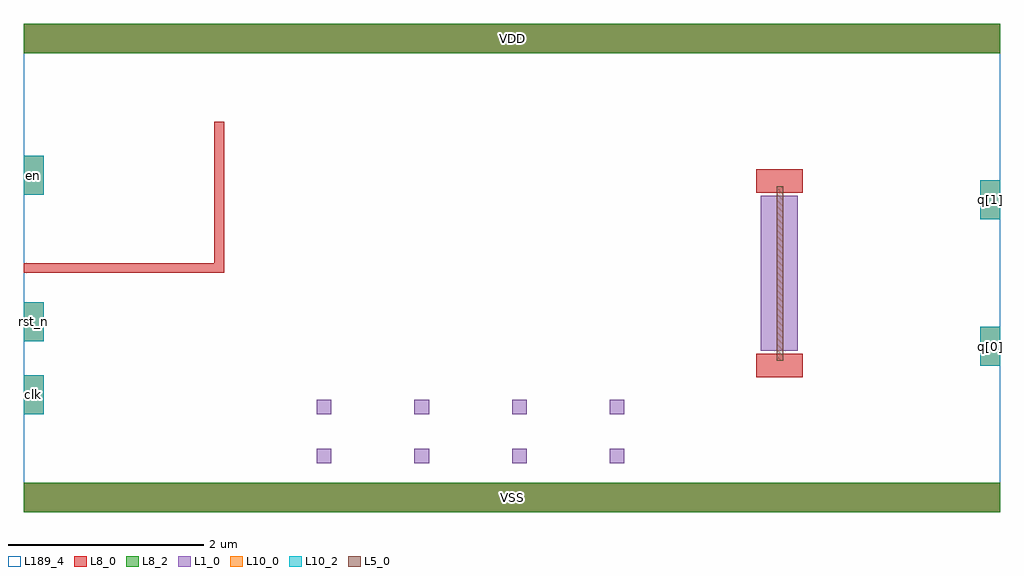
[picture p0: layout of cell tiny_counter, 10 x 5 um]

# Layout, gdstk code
import gdstk
lib = gdstk.Library(unit=1e-6, precision=5e-10)
def R(c, l, rs):  # rectangles x0, y0, x1, y1
    for r in rs: c.add(gdstk.rectangle(r[:2], r[2:], *l))
L1_0 = (1, 0)
L5_0 = (5, 0)
L8_0 = (8, 0)
L8_2 = (8, 2)
L10_0 = (10, 0)
L10_2 = (10, 2)
L189_4 = (189, 4)

tiny_counter_tap = lib.new_cell('tiny_counter_tap')
R(tiny_counter_tap, L1_0, [(0,0,0.15,0.15)])

sg13g2_inv_1 = lib.new_cell('sg13g2_inv_1')
R(sg13g2_inv_1, L1_0, [(0.05,0.15,0.43,1.74)])
R(sg13g2_inv_1, L5_0, [(0.215,0.05,0.28,1.84)])
R(sg13g2_inv_1, L8_0, [(0,-0.12,0.48,0.12), (0,1.77,0.48,2.01)])

tiny_counter = lib.new_cell('tiny_counter')
R(tiny_counter, L8_0, [(0,0,10,0.3), (0,4.7,10,5)])
R(tiny_counter, L8_2, [(0,0,10,0.3), (0,4.7,10,5)])
R(tiny_counter, L10_0, [(0,1,0.2,1.4), (9.8,1.5,10,1.9), (0,1.75,0.2,2.15), (9.8,3,10,3.4), (0,3.25,0.2,3.65)])
R(tiny_counter, L10_2, [(0,1,0.2,1.4), (9.8,1.5,10,1.9), (0,1.75,0.2,2.15), (9.8,3,10,3.4), (0,3.25,0.2,3.65)])
R(tiny_counter, L189_4, [(0,0,10,5)])
tiny_counter.add(gdstk.FlexPath([(0,2.5),(2,2.5),(2,4)], 0.1, ends="flush", simple_path=True, layer=8, datatype=0))  # L8_0
r = gdstk.Reference(tiny_counter_tap, (3,0.5)); r.repetition = gdstk.Repetition(4, 2, v1=(1,0), v2=(0,0.5)); tiny_counter.add(r)
tiny_counter.add(gdstk.Reference(sg13g2_inv_1, (7.5,1.5)))
tiny_counter.add(gdstk.Label('VDD', (5,4.85), layer=8, texttype=25))
tiny_counter.add(gdstk.Label('VSS', (5,0.15), layer=8, texttype=25))
tiny_counter.add(gdstk.Label('clk', (0.1,1.2), layer=10, texttype=25))
tiny_counter.add(gdstk.Label('rst_n', (0.1,1.95), layer=10, texttype=25))
tiny_counter.add(gdstk.Label('en', (0.1,3.45), layer=10, texttype=25))
tiny_counter.add(gdstk.Label('q[0]', (9.9,1.7), layer=10, texttype=25))
tiny_counter.add(gdstk.Label('q[1]', (9.9,3.2), layer=10, texttype=25))

lib.write_gds('tiny_counter.gds')
